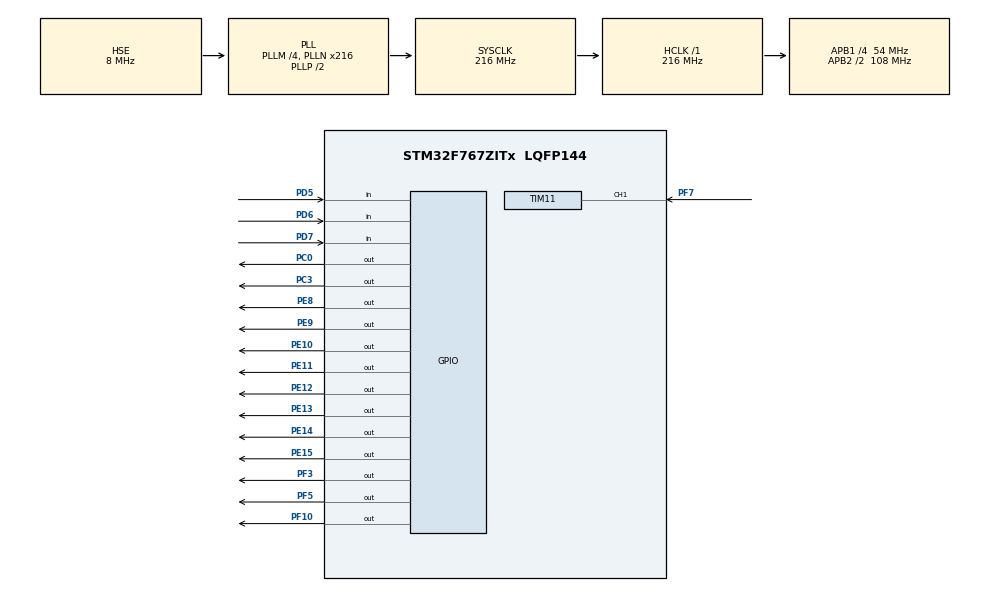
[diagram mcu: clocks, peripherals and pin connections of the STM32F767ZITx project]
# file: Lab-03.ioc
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Mcu.Family=STM32F7
Mcu.Name=STM32F767ZITx
Mcu.Package=LQFP144
NVIC.PriorityGroup=NVIC_PRIORITYGROUP_4
PC0.Signal=GPIO_Output
PC3.Signal=GPIO_Output
PD5.Signal=GPIO_Input
PD6.Signal=GPIO_Input
PD7.Signal=GPIO_Input
PE10.Signal=GPIO_Output
PE11.Signal=GPIO_Output
PE12.Signal=GPIO_Output
PE13.Signal=GPIO_Output
PE14.Signal=GPIO_Output
PE15.Signal=GPIO_Output
PE8.Signal=GPIO_Output
PE9.Signal=GPIO_Output
PF10.Signal=GPIO_Output
PF3.Signal=GPIO_Output
PF5.Signal=GPIO_Output
PF7.Signal=S_TIM11_CH1
PH0/OSC_IN.Mode=HSE-External-Clock-Source
PH0/OSC_IN.Signal=RCC_OSC_IN
PH1/OSC_OUT.Mode=HSE-External-Clock-Source
PH1/OSC_OUT.Signal=RCC_OSC_OUT
ProjectManager.HeapSize=0x200
ProjectManager.StackSize=0x400
ProjectManager.TargetToolchain=STM32CubeIDE
RCC.AHBFreq_Value=216000000
RCC.APB1CLKDivider=RCC_HCLK_DIV4
RCC.APB1Freq_Value=54000000
RCC.APB1TimFreq_Value=108000000
RCC.APB2CLKDivider=RCC_HCLK_DIV2
RCC.APB2Freq_Value=108000000
RCC.APB2TimFreq_Value=216000000
RCC.CortexFreq_Value=216000000
RCC.HCLKFreq_Value=216000000
RCC.HSE_VALUE=8000000
RCC.HSI_VALUE=16000000
RCC.LSE_VALUE=32768
RCC.PLLM=4
RCC.PLLN=216
RCC.PLLSourceVirtual=RCC_PLLSOURCE_HSE
RCC.SYSCLKFreq_VALUE=216000000
RCC.SYSCLKSource=RCC_SYSCLKSOURCE_PLLCLK
RCC.USBFreq_Value=216000000
RCC.VCOOutputFreq_Value=432000000
SH.S_TIM11_CH1.0=TIM11_CH1,Input_Capture1_from_TI1
TIM11.Channel=TIM_CHANNEL_1
TIM11.Period=20000
TIM11.Prescaler=54000-1
VP_TIM11_VS_ClockSourceINT.Mode=Enable_Timer
board=custom

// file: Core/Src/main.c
/* USER CODE BEGIN Header */
/**
 ******************************************************************************
 * @file           : main.c
 * @brief          : Main program body
 ******************************************************************************
 * @attention
 *
 * <h2><center>&copy; Copyright (c) 2019 STMicroelectronics.
 * All rights reserved.</center></h2>
 *
 * This software component is licensed by ST under BSD 3-Clause license,
 * the "License"; You may not use this file except in compliance with the
 * License. You may obtain a copy of the License at:
 *                        opensource.org/licenses/BSD-3-Clause
 *
 ******************************************************************************
 */
/* USER CODE END Header */

#include "main.h"

/* USER CODE BEGIN Includes */
#include <stdbool.h>
#include <time.h>
#include <stdlib.h>

/* USER CODE END Includes */

/* USER CODE BEGIN PD */
#define ST_INICIO 0
#define ST_RESET 1
#define ST_START 2
#define ST_RANDOM_TIME 3
#define ST_WAIT_STOP 4
#define ST_DISPLAY 5
#define ST_TIMEOUT 6
#define ST_CHEAT 7
#define DELAY 20
#define GET_MILISECONDS HAL_GetTick()

/* USER CODE END PD */

TIM_HandleTypeDef htim11;

void SystemClock_Config(void);
static void MX_GPIO_Init(void);
static void MX_TIM11_Init(void);

/* USER CODE BEGIN 0 */
typedef struct {
	int delay;              // Delay in order to debounce
	int counter;            // Counter that will help to determine stable state

	bool state;             // Stable state
	bool state_raw;         // Raw input
	bool edge_rise;         // For Pull-Up
	bool edge_fall;         // For Pull-Down
} Button;
int SegmentTable[21] = {
		0x3F, /* 0 */
		0x06, /* 1 */
		0x5B, /* 2 */
		0x4F, /* 3 */
		0x66, /* 4 */
		0x6D, /* 5 */
		0x7D, /* 6 */
		0x07, /* 7 */
		0x7F, /* 8 */
		0x6F, /* 9 */
		0x77, /* A */
		0x7C, /* B */
		0x39, /* C */
		0x5E, /* D */
		0x79, /* E */
		0x71, /* F */
		0x76, /* H */
		0x00, /* OFF */
		0x38, /* L */
		0x37, /* n */
		0x73  /* P */
};
Button b_start;
Button b_clear;
void debounce(Button *button, _Bool entry)
{
	button->edge_rise = false;
	button->edge_fall = false;
	button->state_raw = entry;

	button->counter++;

	if(button->state == button->state_raw)
		button->counter = 0;

	if(button->counter >= button->delay) {
		button->counter = 0;
		if(button->state_raw) {
			button->state = button->state_raw;
			button->edge_rise = true;
		} else {
			button->state = button->state_raw;
			button->edge_fall = true;
		}
	}
}
int getRiseEdge(Button *btn)
{
	return btn->edge_rise;
}
void write_number(int n, uint8_t *current_display, uint16_t *st)
{
	uint16_t ct = GET_MILISECONDS;
	if (ct >= (*st + 1))
	{
		int aux = 0;

		// Selecting the corresponding display
		uint8_t T0 = (*current_display == 0);
		uint8_t T1 = (*current_display == 1);
		uint8_t T2 = (*current_display == 2);
		uint8_t T3 = (*current_display == 3);

		GPIOE->ODR &= ~(0xFF << 8);								// Clearing 7 Segment Display
		HAL_GPIO_WritePin(GPIOC, GPIO_PIN_3, T0);				// Enable / Disable TRANS_DIG_0
		HAL_GPIO_WritePin(GPIOF, GPIO_PIN_3, T1);				// Enable / Disable TRANS_DIG_1
		HAL_GPIO_WritePin(GPIOF, GPIO_PIN_5, T2);				// Enable / Disable TRANS_DIG_2
		HAL_GPIO_WritePin(GPIOF, GPIO_PIN_10, T3);				// Enable / Disable TRANS_DIG_3

		switch (*current_display) {
		case 0:
			aux = (n/1) % 10;									// Taking unit of number
			GPIOE->ODR |= (SegmentTable[aux] << 8);				// Writing output to segments
			break;
		case 1:
			aux = (n/10) % 10;									// Taking dozen of number
			GPIOE->ODR |= (SegmentTable[aux] << 8);				// Writing output to segments
			break;
		case 2:
			aux = (n/100) % 10;									// Taking hundred of number
			GPIOE->ODR |= (SegmentTable[aux] << 8);				// Writing output to segments
			break;
		case 3:
			aux = (n/1000) % 10;								// Taking thousandth of number
			GPIOE->ODR |= (SegmentTable[aux] << 8) + (1<<15);	// Writing output to segments with a point
			break;
		default:
			break;
		}
		*st = ct;
		*current_display >= 3 ? *current_display = 0 : (*current_display)++;
	}

}
void write_hi(uint8_t *current_display, uint16_t *st)
{
	uint16_t ct = GET_MILISECONDS;
	if (ct >= (*st + 1))
	{
		// Selecting the corresponding display
		uint8_t T0 = (*current_display == 0);
		uint8_t T1 = (*current_display == 1);
		uint8_t T2 = (*current_display == 2);
		uint8_t T3 = (*current_display == 3);

		GPIOE->ODR &= ~(0xFF << 8);								// Clearing 7 Segment Display
		HAL_GPIO_WritePin(GPIOC, GPIO_PIN_3, T0);				// Enable / Disable TRANS_DIG_0
		HAL_GPIO_WritePin(GPIOF, GPIO_PIN_3, T1);				// Enable / Disable TRANS_DIG_1
		HAL_GPIO_WritePin(GPIOF, GPIO_PIN_5, T2);				// Enable / Disable TRANS_DIG_2
		HAL_GPIO_WritePin(GPIOF, GPIO_PIN_10, T3);				// Enable / Disable TRANS_DIG_3

		switch (*current_display) {
		case 0:
			GPIOE->ODR |= (SegmentTable[17] << 8);			// Writing output blank
			break;
		case 1:
			GPIOE->ODR |= (SegmentTable[1] << 8);			// Writing output I
			break;
		case 2:
			GPIOE->ODR |= (SegmentTable[16] << 8);			// Writing output H
			break;
		case 3:
			GPIOE->ODR |= (SegmentTable[17] << 8);			// Writing output blank
			break;
		default:
			break;
		}
		*st = ct;
		*current_display >= 3 ? *current_display = 0 : (*current_display)++;
	}

}
void write_blank(uint8_t *current_display, uint16_t *st)
{
	uint16_t ct = GET_MILISECONDS;
	if (ct >= (*st + 1))
	{
		// Selecting the corresponding display
		uint8_t T0 = (*current_display == 0);
		uint8_t T1 = (*current_display == 1);
		uint8_t T2 = (*current_display == 2);
		uint8_t T3 = (*current_display == 3);

		GPIOE->ODR &= ~(0xFF << 8);								// Clearing 7 Segment Display
		HAL_GPIO_WritePin(GPIOC, GPIO_PIN_3, T0);				// Enable / Disable TRANS_DIG_0
		HAL_GPIO_WritePin(GPIOF, GPIO_PIN_3, T1);				// Enable / Disable TRANS_DIG_1
		HAL_GPIO_WritePin(GPIOF, GPIO_PIN_5, T2);				// Enable / Disable TRANS_DIG_2
		HAL_GPIO_WritePin(GPIOF, GPIO_PIN_10, T3);				// Enable / Disable TRANS_DIG_3

		switch (*current_display) {
		case 0:
			GPIOE->ODR |= (SegmentTable[17] << 8);			// Writing output
			break;
		case 1:
			GPIOE->ODR |= (SegmentTable[17] << 8);			// Writing output
			break;
		case 2:
			GPIOE->ODR |= (SegmentTable[17] << 8);			// Writing output
			break;
		case 3:
			GPIOE->ODR |= (SegmentTable[17] << 8);			// Writing output
			break;
		default:
			break;
		}
		*st = ct;
		*current_display >= 3 ? *current_display = 0 : (*current_display)++;
	}

}
void write_timeout(uint8_t *current_display, uint16_t *st)
{
	uint16_t ct = GET_MILISECONDS;
	if (ct >= (*st + 1))
	{
		// Selecting the corresponding display
		uint8_t T0 = (*current_display == 0);
		uint8_t T1 = (*current_display == 1);
		uint8_t T2 = (*current_display == 2);
		uint8_t T3 = (*current_display == 3);

		GPIOE->ODR &= ~(0xFF << 8);								// Clearing 7 Segment Display
		HAL_GPIO_WritePin(GPIOC, GPIO_PIN_3, T0);				// Enable / Disable TRANS_DIG_0
		HAL_GPIO_WritePin(GPIOF, GPIO_PIN_3, T1);				// Enable / Disable TRANS_DIG_1
		HAL_GPIO_WritePin(GPIOF, GPIO_PIN_5, T2);				// Enable / Disable TRANS_DIG_2
		HAL_GPIO_WritePin(GPIOF, GPIO_PIN_10, T3);				// Enable / Disable TRANS_DIG_3

		switch (*current_display) {
		case 0:
			GPIOE->ODR |= (SegmentTable[18] << 8);			// Writing output L
			break;
		case 1:
			GPIOE->ODR |= (SegmentTable[1] << 8);			// Writing output I
			break;
		case 2:
			GPIOE->ODR |= (SegmentTable[10] << 8);			// Writing output A
			break;
		case 3:
			GPIOE->ODR |= (SegmentTable[15] << 8);			// Writing output F
			break;
		default:
			break;
		}
		*st = ct;
		*current_display >= 3 ? *current_display = 0 : (*current_display)++;
	}

}
void write_nope(uint8_t *current_display, uint16_t *st)
{
	uint16_t ct = GET_MILISECONDS;
	if (ct >= (*st + 1))
	{
		// Selecting the corresponding display
		uint8_t T0 = (*current_display == 0);
		uint8_t T1 = (*current_display == 1);
		uint8_t T2 = (*current_display == 2);
		uint8_t T3 = (*current_display == 3);

		GPIOE->ODR &= ~(0xFF << 8);								// Clearing 7 Segment Display
		HAL_GPIO_WritePin(GPIOC, GPIO_PIN_3, T0);				// Enable / Disable TRANS_DIG_0
		HAL_GPIO_WritePin(GPIOF, GPIO_PIN_3, T1);				// Enable / Disable TRANS_DIG_1
		HAL_GPIO_WritePin(GPIOF, GPIO_PIN_5, T2);				// Enable / Disable TRANS_DIG_2
		HAL_GPIO_WritePin(GPIOF, GPIO_PIN_10, T3);				// Enable / Disable TRANS_DIG_3

		switch (*current_display) {
		case 0:
			GPIOE->ODR |= (SegmentTable[14] << 8);			// Writing output E
			break;
		case 1:
			GPIOE->ODR |= (SegmentTable[20] << 8);			// Writing output P
			break;
		case 2:
			GPIOE->ODR |= (SegmentTable[0] << 8);			// Writing output O
			break;
		case 3:
			GPIOE->ODR |= (SegmentTable[19] << 8);			// Writing output N
			break;
		default:
			break;
		}
		*st = ct;
		*current_display >= 3 ? *current_display = 0 : (*current_display)++;
	}

}
void turn_off_LED()
{
	HAL_GPIO_WritePin(GPIOC, GPIO_PIN_0, GPIO_PIN_RESET);
}
void turn_on_LED()
{
	HAL_GPIO_WritePin(GPIOC, GPIO_PIN_0, GPIO_PIN_SET);
}
_Bool read_LED()
{
	return HAL_GPIO_ReadPin(GPIOC, GPIO_PIN_0);
}
_Bool read_start()
{
	return getRiseEdge(&b_start);
}
_Bool read_clear()
{
	return getRiseEdge(&b_clear);
}
_Bool read_stop()
{
	return HAL_GPIO_ReadPin(GPIOD, GPIO_PIN_5);
}
void reset_count()
{
	// Resetting counter of TIM11
	HAL_TIM_IC_Stop(&htim11, TIM_CHANNEL_1);
	__HAL_TIM_SET_COUNTER(&htim11, 0);
	HAL_TIM_IC_Start(&htim11, TIM_CHANNEL_1);
}
void initButton(Button *button, _Bool initialState)
{
	button->delay = DELAY;
	button->counter = 0;
	button->state = initialState;
	button->state_raw = initialState;
	button->edge_rise = false;
	button->edge_fall = false;
}

/* USER CODE END 0 */

int main(void)
{

  /* MCU Configuration--------------------------------------------------------*/

  /* Reset of all peripherals, Initializes the Flash interface and the Systick. */
  HAL_Init();

  /* Configure the system clock */
  SystemClock_Config();

  /* Initialize all configured peripherals */
  MX_GPIO_Init();
  MX_TIM11_Init();
  /* USER CODE BEGIN 2 */
	HAL_TIM_IC_Start(&htim11, TIM_CHANNEL_1);
	srand(time(NULL));

	uint8_t current_display = 0;
	uint8_t state = ST_INICIO;
	uint16_t start_time = GET_MILISECONDS;
	uint16_t random_time = 0;
	uint16_t current_time = 0;
	uint16_t start_wait_time = 0;
	uint16_t led_time_on = 0;
	uint16_t led_time_off = 0;

	// Start and clear button
	initButton(&b_start, 0);
	initButton(&b_clear, 0);
  /* USER CODE END 2 */

  /* Infinite loop */
	while (1)
	{

    /* USER CODE BEGIN 3 */
		debounce(&b_start, HAL_GPIO_ReadPin(GPIOD, GPIO_PIN_6));
		debounce(&b_clear, HAL_GPIO_ReadPin(GPIOD, GPIO_PIN_7));

		if(read_clear())
		{
			state = ST_RESET;
			led_time_on = 0;
		}

		switch (state) {

		case ST_INICIO:

			write_hi(&current_display, &start_time);
			turn_off_LED();
			state = ST_RESET;
			break;

		case ST_RESET:

			write_hi(&current_display, &start_time);
			turn_off_LED();
			if(read_start() != 0)
			{
				state = ST_START;
			}
			break;

		case ST_START:

			write_blank(&current_display, &start_time);
			state = ST_RANDOM_TIME;
			start_time = GET_MILISECONDS;
			break;

		case ST_RANDOM_TIME:

			state = ST_WAIT_STOP;
			// Generating random number
			random_time = (1 + ( (float)(rand() ) / ( (float)(RAND_MAX/2) ) ))*1000;
			start_wait_time = GET_MILISECONDS;
			break;

		case ST_WAIT_STOP:

			// While the LED is off, turn off screen
			if(!read_LED())
				write_blank(&current_display, &start_time);

			current_time = GET_MILISECONDS;
			// If the random time between 1 and 3 seconds have passed, turn on LED,
			// reset TIM counter and the time where the LED got turned on
			if (current_time >= (start_wait_time + random_time))
			{
				turn_on_LED();
				if(led_time_on == 0)
				{
					led_time_on = GET_MILISECONDS;
					reset_count();
				}
			}
			if (read_LED())
			{	// While the LED is on, show counter value in seconds
				// 0.25 milliseconds = 4khz
				write_number( (TIM11->CNT)*0.25, &current_display, &start_time);
			}
			if(read_stop() && read_LED())
			{
				led_time_off = GET_MILISECONDS;
				state = ST_DISPLAY;
			}
			if (GET_MILISECONDS >= (led_time_on + 2000) && read_LED())
			{
				// If 2 seconds have passed since LED turned on, go to TIMEOUT state
				state = ST_TIMEOUT;
			}
			if (read_LED() == 0 && read_stop()) {
				// If the button was pressed before the LED being turned on, go to CHEAT state
				state = ST_CHEAT;
			}
			break;

		case ST_DISPLAY:

			turn_off_LED();
			// Write the measured time
			write_number( (led_time_off - led_time_on), &current_display, &start_time);
			break;

		case ST_TIMEOUT:

			turn_off_LED();
			// Write FAIL on screen
			write_timeout(&current_display, &start_time);
			break;

		case ST_CHEAT:

			turn_off_LED();
			// Write NOPE on screen
			write_nope(&current_display, &start_time);
			break;

		default:
			break;
		}

	}
  /* USER CODE END 3 */
}

void SystemClock_Config(void)
{
  RCC_OscInitTypeDef RCC_OscInitStruct = {0};
  RCC_ClkInitTypeDef RCC_ClkInitStruct = {0};

  /** Configure the main internal regulator output voltage
  */
  __HAL_RCC_PWR_CLK_ENABLE();
  __HAL_PWR_VOLTAGESCALING_CONFIG(PWR_REGULATOR_VOLTAGE_SCALE1);
  /** Initializes the CPU, AHB and APB busses clocks
  */
  RCC_OscInitStruct.OscillatorType = RCC_OSCILLATORTYPE_HSI|RCC_OSCILLATORTYPE_HSE;
  RCC_OscInitStruct.HSEState = RCC_HSE_BYPASS;
  RCC_OscInitStruct.HSIState = RCC_HSI_ON;
  RCC_OscInitStruct.HSICalibrationValue = RCC_HSICALIBRATION_DEFAULT;
  RCC_OscInitStruct.PLL.PLLState = RCC_PLL_ON;
  RCC_OscInitStruct.PLL.PLLSource = RCC_PLLSOURCE_HSE;
  RCC_OscInitStruct.PLL.PLLM = 4;
  RCC_OscInitStruct.PLL.PLLN = 216;
  RCC_OscInitStruct.PLL.PLLP = RCC_PLLP_DIV2;
  RCC_OscInitStruct.PLL.PLLQ = 2;
  if (HAL_RCC_OscConfig(&RCC_OscInitStruct) != HAL_OK)
  {
    Error_Handler();
  }
  /** Activate the Over-Drive mode
  */
  if (HAL_PWREx_EnableOverDrive() != HAL_OK)
  {
    Error_Handler();
  }
  /** Initializes the CPU, AHB and APB busses clocks
  */
  RCC_ClkInitStruct.ClockType = RCC_CLOCKTYPE_HCLK|RCC_CLOCKTYPE_SYSCLK
                              |RCC_CLOCKTYPE_PCLK1|RCC_CLOCKTYPE_PCLK2;
  RCC_ClkInitStruct.SYSCLKSource = RCC_SYSCLKSOURCE_PLLCLK;
  RCC_ClkInitStruct.AHBCLKDivider = RCC_SYSCLK_DIV1;
  RCC_ClkInitStruct.APB1CLKDivider = RCC_HCLK_DIV4;
  RCC_ClkInitStruct.APB2CLKDivider = RCC_HCLK_DIV2;

  if (HAL_RCC_ClockConfig(&RCC_ClkInitStruct, FLASH_LATENCY_7) != HAL_OK)
  {
    Error_Handler();
  }
  HAL_RCC_MCOConfig(RCC_MCO1, RCC_MCO1SOURCE_HSI, RCC_MCODIV_1);
}

static void MX_TIM11_Init(void)
{

  TIM_IC_InitTypeDef sConfigIC = {0};

  htim11.Instance = TIM11;
  htim11.Init.Prescaler = 54000-1;
  htim11.Init.CounterMode = TIM_COUNTERMODE_UP;
  htim11.Init.Period = 20000;
  htim11.Init.ClockDivision = TIM_CLOCKDIVISION_DIV1;
  htim11.Init.AutoReloadPreload = TIM_AUTORELOAD_PRELOAD_DISABLE;
  if (HAL_TIM_Base_Init(&htim11) != HAL_OK)
  {
    Error_Handler();
  }
  if (HAL_TIM_IC_Init(&htim11) != HAL_OK)
  {
    Error_Handler();
  }
  sConfigIC.ICPolarity = TIM_INPUTCHANNELPOLARITY_RISING;
  sConfigIC.ICSelection = TIM_ICSELECTION_DIRECTTI;
  sConfigIC.ICPrescaler = TIM_ICPSC_DIV1;
  sConfigIC.ICFilter = 0;
  if (HAL_TIM_IC_ConfigChannel(&htim11, &sConfigIC, TIM_CHANNEL_1) != HAL_OK)
  {
    Error_Handler();
  }

}

static void MX_GPIO_Init(void)
{
  GPIO_InitTypeDef GPIO_InitStruct = {0};

  /* GPIO Ports Clock Enable */
  __HAL_RCC_GPIOF_CLK_ENABLE();
  __HAL_RCC_GPIOH_CLK_ENABLE();
  __HAL_RCC_GPIOC_CLK_ENABLE();
  __HAL_RCC_GPIOE_CLK_ENABLE();
  __HAL_RCC_GPIOD_CLK_ENABLE();

  /*Configure GPIO pin Output Level */
  HAL_GPIO_WritePin(GPIOF, GPIO_PIN_3|GPIO_PIN_5|GPIO_PIN_10, GPIO_PIN_RESET);

  /*Configure GPIO pin Output Level */
  HAL_GPIO_WritePin(GPIOC, GPIO_PIN_0|GPIO_PIN_3, GPIO_PIN_RESET);

  /*Configure GPIO pin Output Level */
  HAL_GPIO_WritePin(GPIOE, GPIO_PIN_8|GPIO_PIN_9|GPIO_PIN_10|GPIO_PIN_11
                          |GPIO_PIN_12|GPIO_PIN_13|GPIO_PIN_14|GPIO_PIN_15, GPIO_PIN_RESET);

  /*Configure GPIO pins : PF3 PF5 PF10 */
  GPIO_InitStruct.Pin = GPIO_PIN_3|GPIO_PIN_5|GPIO_PIN_10;
  GPIO_InitStruct.Mode = GPIO_MODE_OUTPUT_PP;
  GPIO_InitStruct.Pull = GPIO_NOPULL;
  GPIO_InitStruct.Speed = GPIO_SPEED_FREQ_LOW;
  HAL_GPIO_Init(GPIOF, &GPIO_InitStruct);

  /*Configure GPIO pins : PC0 PC3 */
  GPIO_InitStruct.Pin = GPIO_PIN_0|GPIO_PIN_3;
  GPIO_InitStruct.Mode = GPIO_MODE_OUTPUT_PP;
  GPIO_InitStruct.Pull = GPIO_NOPULL;
  GPIO_InitStruct.Speed = GPIO_SPEED_FREQ_LOW;
  HAL_GPIO_Init(GPIOC, &GPIO_InitStruct);

  /*Configure GPIO pins : PE8 PE9 PE10 PE11
                           PE12 PE13 PE14 PE15 */
  GPIO_InitStruct.Pin = GPIO_PIN_8|GPIO_PIN_9|GPIO_PIN_10|GPIO_PIN_11
                          |GPIO_PIN_12|GPIO_PIN_13|GPIO_PIN_14|GPIO_PIN_15;
  GPIO_InitStruct.Mode = GPIO_MODE_OUTPUT_PP;
  GPIO_InitStruct.Pull = GPIO_NOPULL;
  GPIO_InitStruct.Speed = GPIO_SPEED_FREQ_LOW;
  HAL_GPIO_Init(GPIOE, &GPIO_InitStruct);

  /*Configure GPIO pins : PD5 PD6 PD7 */
  GPIO_InitStruct.Pin = GPIO_PIN_5|GPIO_PIN_6|GPIO_PIN_7;
  GPIO_InitStruct.Mode = GPIO_MODE_INPUT;
  GPIO_InitStruct.Pull = GPIO_NOPULL;
  HAL_GPIO_Init(GPIOD, &GPIO_InitStruct);

}

void Error_Handler(void)
{
}

/************************ (C) COPYRIGHT STMicroelectronics *****END OF FILE****/
